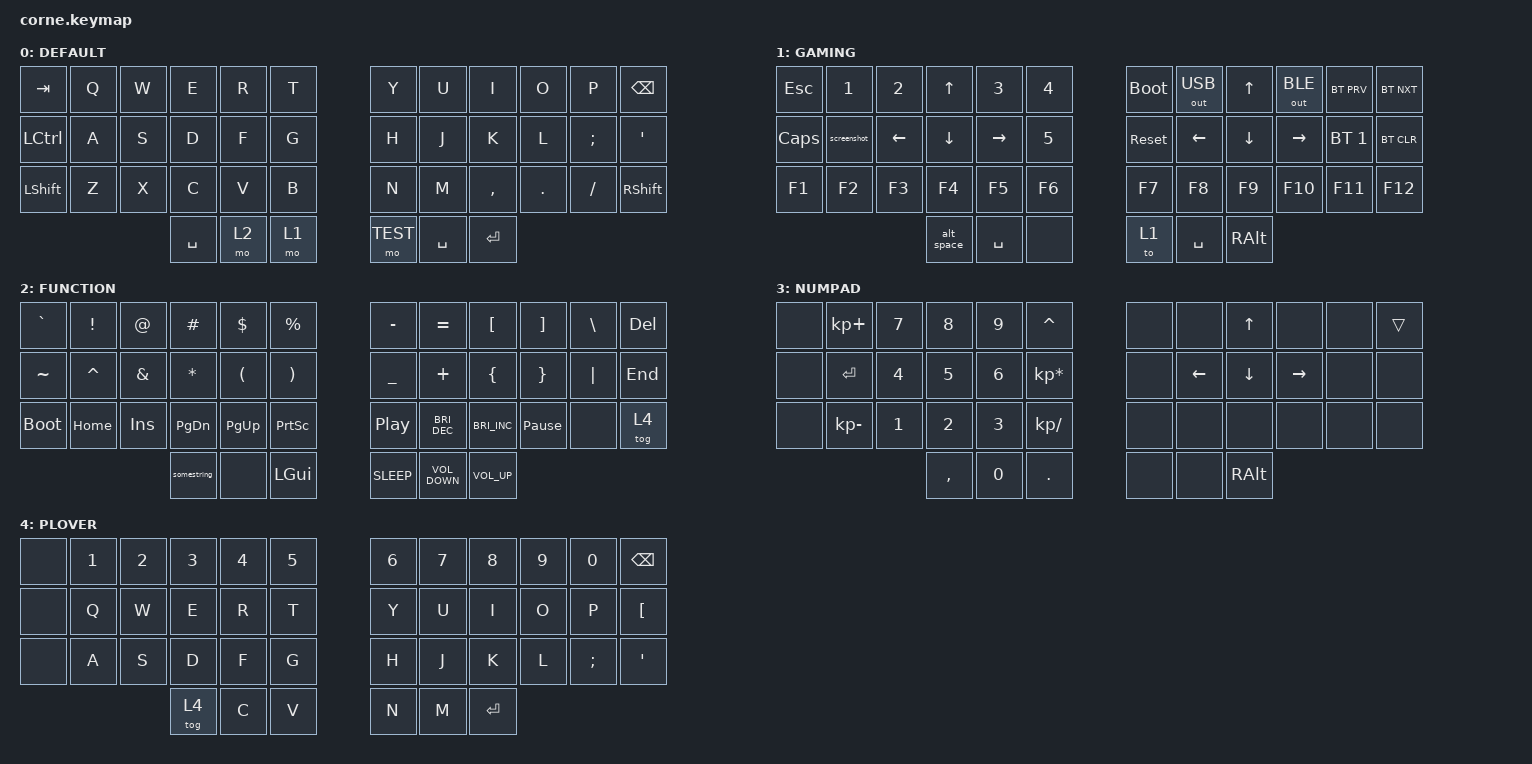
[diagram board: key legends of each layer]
/*
 * Copyright (c) 2020 The ZMK Contributors
 *
 * SPDX-License-Identifier: MIT
 */

#include <behaviors.dtsi>
#include <dt-bindings/zmk/bt.h>
#include <dt-bindings/zmk/keys.h>
#include <dt-bindings/zmk/outputs.h>

#define DEFAULT 0
#define LOWER 1
#define RAISE 2
#define TEST 3
#define PLOVER 4

/ {
    macros {
        alt_space: alt_space {
            label = "ZM_alt_space";
            compatible = "zmk,behavior-macro";
            #binding-cells = <0>;
            bindings =
                <&macro_press>,
                <&kp LALT>,
                <&macro_tap>,
                <&kp SPACE>,
                <&macro_release>,
                <&kp LALT>;
        };
        screenshot: screenshot {
            compatible = "zmk,behavior-macro";
            label = "SCREENSHOT";
            #binding-cells = <0>;
            bindings =
                <&macro_press>,
                <&kp LEFT_GUI>,
                <&macro_press>,
                <&kp LEFT_SHIFT>,
                <&macro_tap>,
                <&kp S>,
                <&macro_release>,
                <&kp LEFT_SHIFT>,
                <&macro_release>,
                <&kp LGUI>;
        };
        somestring: somestring {
            compatible = "zmk,behavior-macro";
            label = "SOMESTRING";
            #binding-cells = <0>;
            bindings = <&kp M &kp O &kp U &kp S &kp E &kp SPACE &kp C &kp A &kp L &kp C &kp U &kp L &kp A &kp T &kp O &kp R &kp SPACE &kp T &kp O &kp W &kp E &kp L &kp SPACE &kp B &kp A &kp S &kp E &kp SPACE &kp T &kp R &kp A &kp S &kp H &kp C &kp A &kp N &kp SPACE &kp C &kp O &kp R &kp A &kp L &kp SPACE &kp E &kp Y &kp E &kp S &kp SPACE &kp C &kp A &kp B &kp L &kp E &kp SPACE &kp E &kp X &kp P &kp L &kp O &kp S &kp I &kp O &kp N &kp SPACE &kp F &kp O &kp L &kp D &kp E &kp D &kp SPACE &kp T &kp H &kp I &kp N &kp K &kp SPACE &kp P &kp L &kp A &kp S &kp T &kp I &kp C &kp SPACE &kp S &kp C &kp A &kp N &kp SPACE &kp O &kp C &kp T &kp A &kp G &kp O &kp N>;
        };
    };

    keymap {
        compatible = "zmk,keymap";

        default_layer {
            // -----------------------------------------------------------------------------------------
            // |  ESC |  Q  |  W  |  E  |  R  |  T  |---|  Y  |  U   |  I  |  O  |  P  | BKSP |
            // | CTRL |  A  |  S  |  D  |  F  |  G  |---|  H  |  J   |  K  |  L  |  ;  |  '   |
            // | SHFT |  Z  |  X  |  C  |  V  |  B  |---|  N  |  M   |  ,  |  .  |  /  | SHFT |
            //                    | SPC | L_2 | L_1 |---| L_3 | SPC  | ENT |

            bindings = <
  &kp TAB  &kp Q  &kp W      &kp E  &kp R  &kp T       &kp Y      &kp U      &kp I    &kp O     &kp P         &kp BSPC
&kp LCTRL  &kp A  &kp S      &kp D  &kp F  &kp G       &kp H      &kp J      &kp K    &kp L  &kp SEMI          &kp SQT
&kp LSHFT  &kp Z  &kp X      &kp C  &kp V  &kp B       &kp N      &kp M  &kp COMMA  &kp DOT  &kp FSLH  &kp RIGHT_SHIFT
                         &kp SPACE  &mo 2  &mo 1    &mo TEST  &kp SPACE    &kp RET
            >;

            label = "DEFAULT";
        };

        game_layer {
            // -----------------------------------------------------------------------------------------
            // | ESC  |    1     |  2  |    UP   |  3  |  4  |---| BOOTLDR  | USB |  UP   | BT  |  BT_PREV | BT_NXT |
            // | CAPS | SCRSHOT  | LFT |   DWN   | RGT |  5  |---| SYS_RST  | LFT |  DWN  | RGT |   BT_1   | BT_CLR |
            // |  F1  |    F2    | F3  |    F4   | F5  |  F6 |---|    F7    | F8  |  F9   | F10 |    F11   |   F12  |
            //                         | ALT_SPC | SPC |     |---| TOG GAME | SPC | R_ALT |

            bindings = <
  &kp ESCAPE       &kp N1    &kp N2      &kp UP     &kp N3  &kp N4    &bootloader  &out OUT_USB         &kp UP  &out OUT_BLE    &bt BT_PRV  &bt BT_NXT
&kp CAPSLOCK  &screenshot  &kp LEFT    &kp DOWN  &kp RIGHT  &kp N5    &sys_reset      &kp LEFT       &kp DOWN     &kp RIGHT  &bt BT_SEL 1  &bt BT_CLR
      &kp F1       &kp F2    &kp F3      &kp F4     &kp F5  &kp F6         &kp F7        &kp F8         &kp F9       &kp F10       &kp F11     &kp F12
                                     &alt_space  &kp SPACE   &none          &to 1     &kp SPACE  &kp RIGHT_ALT
            >;

            label = "GAMING";
        };

        functional_layer {
            // -----------------------------------------------------------------------------------------
            // |    `    |  !   |  @  |  #  |  $  |    %    |---|   -   |   =  |   [   |    ]     |  \  |  DEL |
            // |    ~    |  ^   |  &  |  *  |  (  |    )    |---|   _   |   +  |   {   |    }     | "|" |  END |
            // | BOOTLDR | HOME | INS | PGD | PGU | PRTSCRN |---| PL/PA | BRT- |  BRT+ |  PA_BRK  |     |  T_4 |
            //                        | SMT |     |  LGUI   |---| C_SLP | VOL- |  VOL+ |

            bindings = <
  &kp GRAVE  &kp EXCLAMATION    &kp AT_SIGN      &kp POUND            &kp DOLLAR            &kp PERCENT           &kp MINUS             &kp EQUAL      &kp LEFT_BRACKET  &kp RIGHT_BRACKET  &kp BACKSLASH  &kp DEL
  &kp TILDE        &kp CARET  &kp AMPERSAND   &kp ASTERISK  &kp LEFT_PARENTHESIS  &kp RIGHT_PARENTHESIS      &kp UNDERSCORE              &kp PLUS        &kp LEFT_BRACE    &kp RIGHT_BRACE       &kp PIPE  &kp END
&bootloader         &kp HOME     &kp INSERT  &kp PAGE_DOWN             &kp PG_UP        &kp PRINTSCREEN    &kp C_PLAY_PAUSE  &kp C_BRIGHTNESS_DEC  &kp C_BRIGHTNESS_INC    &kp PAUSE_BREAK          &none    &tog 4
                                               &somestring                 &none               &kp LGUI         &kp C_SLEEP     &kp C_VOLUME_DOWN       &kp C_VOLUME_UP
            >;

            label = "FUNCTION";
        };

        numpad_layer {
            // -----------------------------------------------------------------------------------------
            // |    |  +  |  7  |  8  |  9  |  ^  |---|    |     |  UP |     |    | BKSP |
            // |    | ENT |  4  |  5  |  6  |  *  |---|    | LFT | DWN | RGT |    |      |
            // |    |  -  |  1  |  2  |  3  |  /  |---|    |     |     |     |    |      |
            //                  |  ,  |  0  |  .  |---|    |     | ALT |

            bindings = <
&none      &kp KP_PLUS  &kp N7     &kp N8  &kp N9        &kp CARET    &none     &none          &kp UP      &none  &none  &trans
&none        &kp ENTER  &kp N4     &kp N5  &kp N6  &kp KP_ASTERISK    &none  &kp LEFT  &kp DOWN_ARROW  &kp RIGHT  &none   &none
&none  &kp KP_SUBTRACT  &kp N1     &kp N2  &kp N3    &kp KP_DIVIDE    &none     &none           &none      &none  &none   &none
                                &kp COMMA  &kp N0       &kp PERIOD    &none     &none        &kp RALT
            >;

            label = "NUMPAD";
        };

        plover_layer {
            // -----------------------------------------------------------------------------------------
            // |   |  1  |  2  |  3  |  4  |  5  |---|  6  |  7   |  8  |  9  |  0  | BKSP |
            // |   |  S  |  T  |  P  |  H  |     |---|     |  F   |  P  |  L  |  T  |  D   |
            // |   |  S  |  K  |  W  |  R  |     |---|     |  R   |  B  |  G  |  S  |  Z   |
            //                 | T_4 |  A  |  O  |---|  E  |  U   | ENT |

            bindings = <
  &none  &kp N1  &kp N2      &kp N3  &kp N4  &kp N5       &kp N6      &kp N7      &kp N8    &kp N9     &kp N0        &kp BSPC
&none  &kp Q  &kp W      &kp E  &kp R  &kp T       &kp Y      &kp U      &kp I    &kp O  &kp P          &kp LEFT_BRACKET
&none  &kp A  &kp S      &kp D  &kp F  &kp G       &kp H      &kp J  &kp K  &kp L  &kp SEMI  &kp SQT
                         &tog 4  &kp C  &kp V    &kp N  &kp M    &kp RET
            >;

            label = "PLOVER";
        };
    };
};
